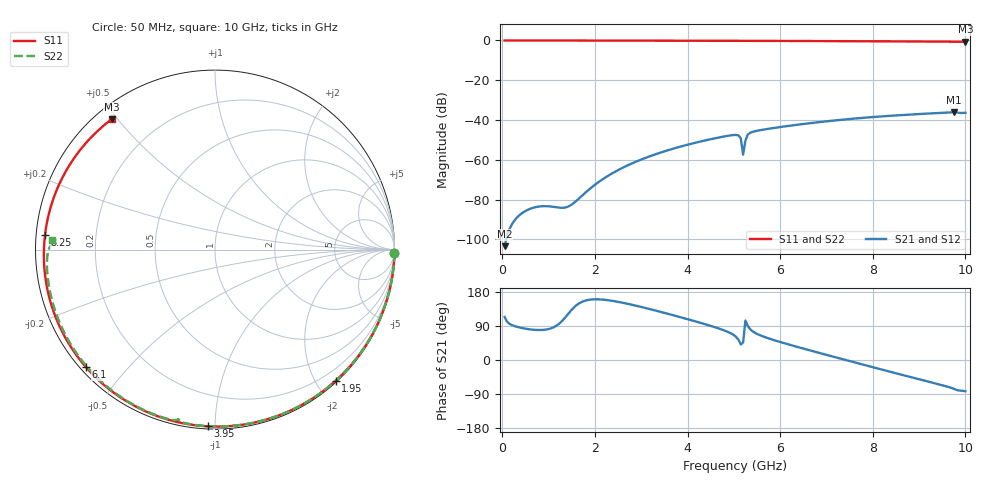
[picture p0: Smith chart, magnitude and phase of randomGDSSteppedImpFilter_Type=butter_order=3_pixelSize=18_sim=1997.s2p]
! freq	dB(S11)	phase(S11)	dB(S12)	phase(S12)
!  dB(S21)	phase(S21)	dB(S22)	phase(S22)
!S-par simulation data
#  GHz  S  DB  R 50
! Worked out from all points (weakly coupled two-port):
!   200 points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, 50 MHz to 10 GHz, reference 50 ohm
!   highest |S21| = -36.11 dB at 9.75 GHz (marker M1); lowest = -103.5 dB at 50 MHz (marker M2)
!   lowest |S11| = -0.7 dB at 10 GHz (marker M3), VSWR 26.34, Z = 2.34 + j24.1 ohm
!   |S11| at or under -10 dB: nowhere
!   |S22| runs from -1.0 to 0.0 dB; largest |S21 - S12| = 0
!   S11 on the Smith chart (normalised r, x): 50 MHz: 0, -92; 1.95 GHz: 0.02, -2.28; 3.95 GHz: 0.01, -0.96; 6.1 GHz: 0.02, -0.39; 8.25 GHz: 0.03, +0.04; 10 GHz: 0.05, +0.48
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0.05  -0.00 -1.2  -103.46 113.7  -103.46 113.7  -0.00 -1.1
0.8  -0.02 -19.8  -83.50 79.0  -83.50 79.0  -0.02 -17.0
1.6  -0.05 -39.0  -80.65 144.4  -80.65 144.4  -0.04 -33.6
1.75  -0.05 -42.6  -77.47 154.9  -77.47 154.9  -0.05 -36.7
1.95  -0.06 -47.3  -73.48 159.9  -73.48 159.9  -0.05 -40.8
2.6  -0.08 -62.4  -64.02 151.1  -64.02 151.1  -0.07 -53.8
3.4  -0.11 -80.3  -56.52 127.6  -56.52 127.6  -0.09 -69.3
3.95  -0.13 -92.3  -52.73 109.5  -52.73 109.5  -0.11 -79.6
5.05  -0.18 -115.7  -47.51 60.8  -47.51 60.8  -0.17 -99.7
5.15  -0.19 -117.8  -49.15 41.0  -49.15 41.0  -0.22 -101.6
5.2  -0.19 -118.8  -57.41 46.0  -57.41 46.0  -0.30 -102.2
5.25  -0.19 -119.9  -50.35 104.2  -50.35 104.2  -0.25 -102.5
5.3  -0.19 -120.9  -47.36 90.2  -47.36 90.2  -0.20 -103.4
5.35  -0.20 -121.9  -46.46 81.7  -46.46 81.7  -0.19 -104.3
6.1  -0.24 -137.6  -43.22 43.9  -43.22 43.9  -0.21 -117.5
6.7  -0.29 -150.3  -41.45 23.5  -41.45 23.5  -0.25 -127.6
7.5  -0.36 -167.7  -39.51 -2.8  -39.51 -2.8  -0.31 -141.1
8.25  -0.44 175.0  -38.08 -27.1  -38.08 -27.1  -0.38 -153.8
8.35  -0.45 172.6  -37.93 -30.3  -37.93 -30.3  -0.39 -155.5
9.05  -0.54 155.1  -36.94 -52.2  -36.94 -52.2  -0.47 -167.8
9.75  -0.63 135.8  -36.11 -75.9  -36.11 -75.9  -0.79 178.4
10  -0.66 128.4  -36.38 -82.4  -36.38 -82.4  -0.83 176.8
